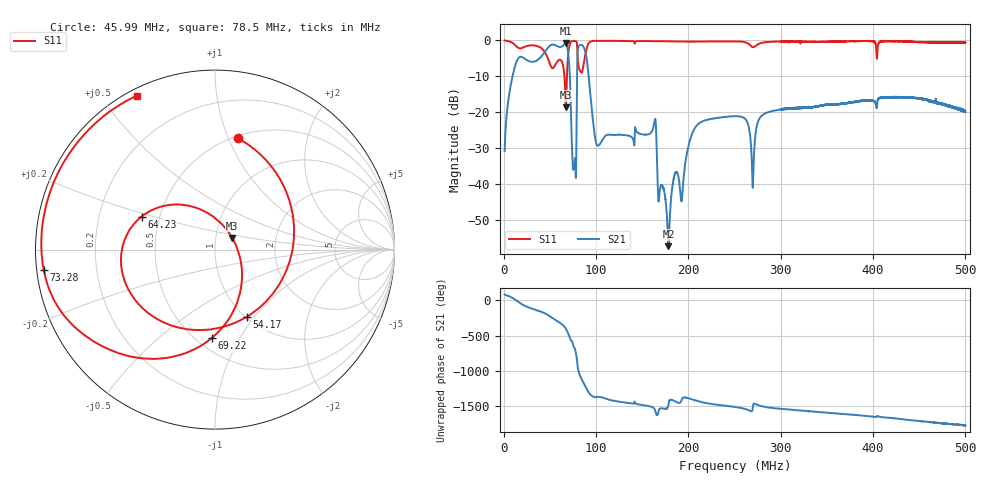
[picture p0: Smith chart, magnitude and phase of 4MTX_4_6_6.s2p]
! NanoVNA-App
! Date: 2026-08-18 21:20:10
! Start: 1MHz Stop: 500MHz Points: 6401
! S-Parameter data: F S11 S21 S12 S22
# Hz S RI R 50
!  Frequency  S11_Real  S11_Imag  S21_Real  S21_Imag  S12_Real  S12_Imag  S22_Real  S22_Imag
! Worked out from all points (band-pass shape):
!   6401 points, 1 MHz to 500 MHz, reference 50 ohm
!   highest |S21| = -0.89 dB at 67.12 MHz (marker M1); lowest = -57.4 dB at 178.4 MHz (marker M2)
!   |S21| within 3 dB of the highest: 42.86 MHz to 69.9 MHz (27.04 MHz wide, 48 % of centre); 79.91 MHz to 88.96 MHz (9.052 MHz wide, 10.7 % of centre)
!   lowest |S11| = -18.7 dB at 67.35 MHz (marker M3), VSWR 1.26, Z = 60 + j7.93 ohm
!   |S11| at or under -10 dB: 65.76 MHz to 68.52 MHz (2.759 MHz wide, 4.11 % of centre)
!   S12 and S22 are empty: the file has one direction only
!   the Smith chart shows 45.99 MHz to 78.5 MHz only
!   S11 on the Smith chart (normalised r, x): 45.99 MHz: 0.52, +1.08; 54.17 MHz: 1.01, -0.91; 64.23 MHz: 0.40, +0.18; 69.22 MHz: 0.59, -0.77; 73.28 MHz: 0.02, -0.06; 78.5 MHz: 0.03, +0.62
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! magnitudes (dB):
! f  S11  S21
! 1 MHz  -0.1  -30.9
! 14.49 MHz  -1.9  -5.6
! 45.99 MHz  -4.0  -2.8
! 54.17 MHz  -7.7  -1.3
! 64.23 MHz  -7.0  -1.6
! 67.12 MHz  -17.6  -0.9
! 67.35 MHz  -18.7  -0.9
! 69.22 MHz  -6.1  -2.5
! 73.28 MHz  -0.3  -24.4
! 76.24 MHz  -0.2  -35.3
! 78.5 MHz  -0.3  -34.6
! 84.19 MHz  -9.1  -1.3
! 101.3 MHz  -0.2  -29.3
! 162.7 MHz  -0.3  -23.6
! 167.4 MHz  -0.3  -44.3
! 178.4 MHz  -0.3  -57.4
! 207.1 MHz  -0.4  -24.5
! 250.5 MHz  -0.4  -21.2
! 269.8 MHz  -2.0  -41.1
! 333.7 MHz  -0.5  -18.7
! 416.9 MHz  -0.2  -16.0
! 500 MHz  -0.6  -20.0
